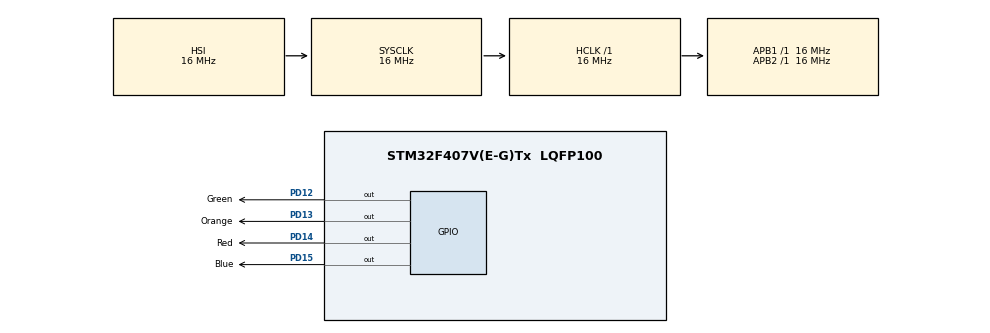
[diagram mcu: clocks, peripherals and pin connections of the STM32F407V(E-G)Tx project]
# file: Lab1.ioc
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Mcu.Family=STM32F4
Mcu.Name=STM32F407V(E-G)Tx
Mcu.Package=LQFP100
NVIC.PriorityGroup=NVIC_PRIORITYGROUP_4
PD12.GPIO_Label=Green
PD12.Signal=GPIO_Output
PD13.GPIO_Label=Orange
PD13.Signal=GPIO_Output
PD14.GPIO_Label=Red
PD14.Signal=GPIO_Output
PD15.GPIO_Label=Blue
PD15.Signal=GPIO_Output
ProjectManager.HeapSize=0x200
ProjectManager.StackSize=0x400
ProjectManager.TargetToolchain=STM32CubeIDE
RCC.AHBFreq_Value=16000000
RCC.APB1Freq_Value=16000000
RCC.APB2Freq_Value=16000000
RCC.CortexFreq_Value=16000000
RCC.HSE_VALUE=25000000
RCC.HSI_VALUE=16000000
RCC.LSE_VALUE=32768
RCC.SYSCLKFreq_VALUE=16000000
RCC.VCOOutputFreq_Value=192000000
board=custom

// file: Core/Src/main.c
/* USER CODE BEGIN Header */
/**
  ******************************************************************************
  * @file           : main.c
  * @brief          : Main program body
  ******************************************************************************
  * @attention
  *
  * Copyright (c) 2026 STMicroelectronics.
  * All rights reserved.
  *
  * This software is licensed under terms that can be found in the LICENSE file
  * in the root directory of this software component.
  * If no LICENSE file comes with this software, it is provided AS-IS.
  *
  ******************************************************************************
  */
/* USER CODE END Header */
#include "main.h"

void SystemClock_Config(void);
static void MX_GPIO_Init(void);

/* USER CODE BEGIN 0 */
void OneCircle(int delay)
{
	  HAL_GPIO_WritePin(GPIOD, Blue_Pin, GPIO_PIN_SET);
	  HAL_Delay(delay);
	  HAL_GPIO_WritePin(GPIOD, Blue_Pin, GPIO_PIN_RESET);

	  HAL_GPIO_WritePin(GPIOD, Green_Pin, GPIO_PIN_SET);
	  HAL_Delay(delay);
	  HAL_GPIO_WritePin(GPIOD, Green_Pin, GPIO_PIN_RESET);

	  HAL_GPIO_WritePin(GPIOD, Orange_Pin, GPIO_PIN_SET);
	  HAL_Delay(delay);
	  HAL_GPIO_WritePin(GPIOD, Orange_Pin, GPIO_PIN_RESET);

	  HAL_GPIO_WritePin(GPIOD, Red_Pin, GPIO_PIN_SET);
	  HAL_Delay(delay);
	  HAL_GPIO_WritePin(GPIOD, Red_Pin, GPIO_PIN_RESET);
}

void TwoCircle(int delay)
{
	  HAL_GPIO_WritePin(GPIOD, Red_Pin, GPIO_PIN_RESET);
	  HAL_GPIO_WritePin(GPIOD, Blue_Pin, GPIO_PIN_SET);
	  HAL_GPIO_WritePin(GPIOD, Green_Pin, GPIO_PIN_SET);
	  HAL_Delay(delay);

	  HAL_GPIO_WritePin(GPIOD, Blue_Pin, GPIO_PIN_RESET);
	  HAL_GPIO_WritePin(GPIOD, Orange_Pin, GPIO_PIN_SET);
	  HAL_Delay(delay);

	  HAL_GPIO_WritePin(GPIOD, Green_Pin, GPIO_PIN_RESET);
	  HAL_GPIO_WritePin(GPIOD, Red_Pin, GPIO_PIN_SET);
	  HAL_Delay(delay);

	  HAL_GPIO_WritePin(GPIOD, Blue_Pin, GPIO_PIN_SET);
	  HAL_GPIO_WritePin(GPIOD, Orange_Pin, GPIO_PIN_RESET);
	  HAL_Delay(delay);
}

void ThreeCircle(int delay)
{
	  HAL_GPIO_WritePin(GPIOD, Blue_Pin | Green_Pin | Orange_Pin , GPIO_PIN_SET);
	  HAL_GPIO_WritePin(GPIOD, Red_Pin, GPIO_PIN_RESET);
	  HAL_Delay(delay);

	  HAL_GPIO_WritePin(GPIOD, Blue_Pin, GPIO_PIN_RESET);
	  HAL_GPIO_WritePin(GPIOD, Red_Pin, GPIO_PIN_SET);
	  HAL_Delay(delay);

	  HAL_GPIO_WritePin(GPIOD, Green_Pin, GPIO_PIN_RESET);
	  HAL_GPIO_WritePin(GPIOD, Blue_Pin, GPIO_PIN_SET);
	  HAL_Delay(delay);

	  HAL_GPIO_WritePin(GPIOD, Green_Pin, GPIO_PIN_SET);
	  HAL_GPIO_WritePin(GPIOD, Orange_Pin, GPIO_PIN_RESET);
	  HAL_Delay(delay);
}
void BlinkAll(int delay){
	  HAL_GPIO_WritePin(GPIOD, Blue_Pin | Green_Pin | Orange_Pin | Red_Pin, GPIO_PIN_SET);
	  HAL_Delay(delay);
	  HAL_GPIO_WritePin(GPIOD, Blue_Pin | Green_Pin | Orange_Pin | Red_Pin, GPIO_PIN_RESET);
	  HAL_Delay(delay);
}
/* USER CODE END 0 */

int main(void)
{

  /* MCU Configuration--------------------------------------------------------*/

  /* Reset of all peripherals, Initializes the Flash interface and the Systick. */
  HAL_Init();

  /* Configure the system clock */
  SystemClock_Config();

  /* Initialize all configured peripherals */
  MX_GPIO_Init();

  /* Infinite loop */
  /* USER CODE BEGIN WHILE */
  while (1)
  {
	  int delay = 650;
	  for(int i = 0; i < 8; i++)
	  {
		  OneCircle(delay);
		  delay = delay - 50;
	  }
	  delay = 650;
	  for(int i = 0; i < 8; i++)
	  {
		  TwoCircle(delay);
		  delay = delay - 50;
	  }
	  delay = 650;
	  for(int i = 0; i < 8; i++)
	  {
		  ThreeCircle(delay);
		  delay = delay - 50;
	  }
	  delay = 650;
	  for(int i = 0; i < 8; i++)
	  {
		  BlinkAll(delay);
	      delay = delay - 50;
	  }
    /* USER CODE END WHILE */

  }
}

void SystemClock_Config(void)
{
  RCC_OscInitTypeDef RCC_OscInitStruct = {0};
  RCC_ClkInitTypeDef RCC_ClkInitStruct = {0};

  /** Configure the main internal regulator output voltage
  */
  __HAL_RCC_PWR_CLK_ENABLE();
  __HAL_PWR_VOLTAGESCALING_CONFIG(PWR_REGULATOR_VOLTAGE_SCALE1);

  /** Initializes the RCC Oscillators according to the specified parameters
  * in the RCC_OscInitTypeDef structure.
  */
  RCC_OscInitStruct.OscillatorType = RCC_OSCILLATORTYPE_HSI;
  RCC_OscInitStruct.HSIState = RCC_HSI_ON;
  RCC_OscInitStruct.HSICalibrationValue = RCC_HSICALIBRATION_DEFAULT;
  RCC_OscInitStruct.PLL.PLLState = RCC_PLL_NONE;
  if (HAL_RCC_OscConfig(&RCC_OscInitStruct) != HAL_OK)
  {
    Error_Handler();
  }

  /** Initializes the CPU, AHB and APB buses clocks
  */
  RCC_ClkInitStruct.ClockType = RCC_CLOCKTYPE_HCLK|RCC_CLOCKTYPE_SYSCLK
                              |RCC_CLOCKTYPE_PCLK1|RCC_CLOCKTYPE_PCLK2;
  RCC_ClkInitStruct.SYSCLKSource = RCC_SYSCLKSOURCE_HSI;
  RCC_ClkInitStruct.AHBCLKDivider = RCC_SYSCLK_DIV1;
  RCC_ClkInitStruct.APB1CLKDivider = RCC_HCLK_DIV1;
  RCC_ClkInitStruct.APB2CLKDivider = RCC_HCLK_DIV1;

  if (HAL_RCC_ClockConfig(&RCC_ClkInitStruct, FLASH_LATENCY_0) != HAL_OK)
  {
    Error_Handler();
  }
}

static void MX_GPIO_Init(void)
{
  GPIO_InitTypeDef GPIO_InitStruct = {0};

  /* GPIO Ports Clock Enable */
  __HAL_RCC_GPIOD_CLK_ENABLE();

  /*Configure GPIO pin Output Level */
  HAL_GPIO_WritePin(GPIOD, Green_Pin|Orange_Pin|Red_Pin|Blue_Pin, GPIO_PIN_RESET);

  /*Configure GPIO pins : Green_Pin Orange_Pin Red_Pin Blue_Pin */
  GPIO_InitStruct.Pin = Green_Pin|Orange_Pin|Red_Pin|Blue_Pin;
  GPIO_InitStruct.Mode = GPIO_MODE_OUTPUT_PP;
  GPIO_InitStruct.Pull = GPIO_NOPULL;
  GPIO_InitStruct.Speed = GPIO_SPEED_FREQ_LOW;
  HAL_GPIO_Init(GPIOD, &GPIO_InitStruct);

}

void Error_Handler(void)
{
  __disable_irq();
  while (1)
  {
  }
}
